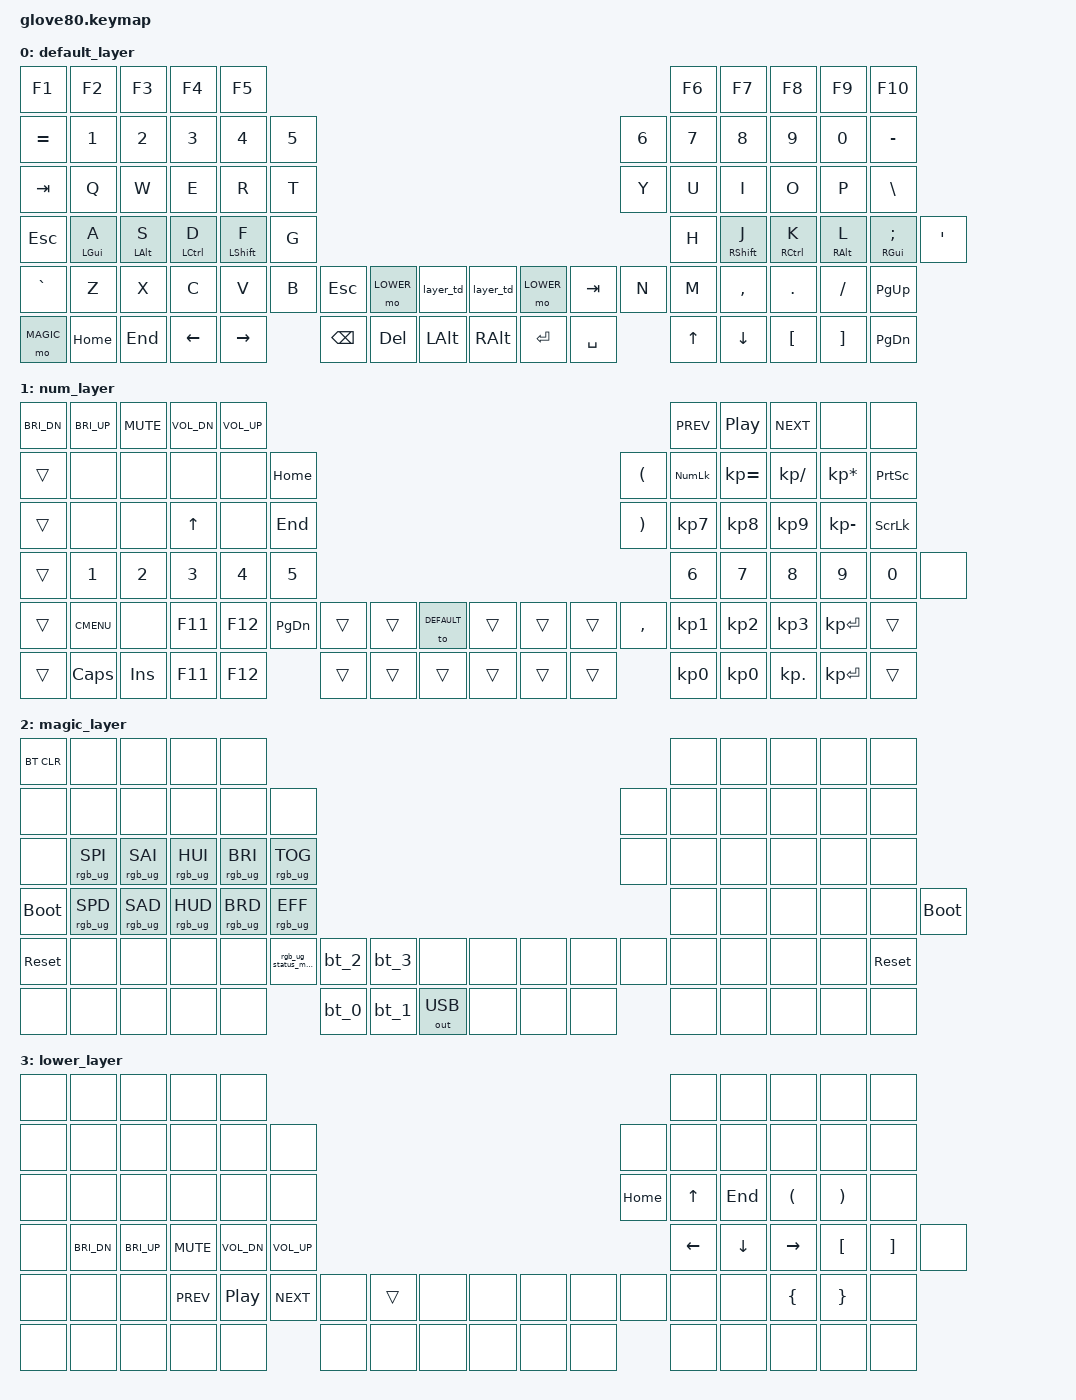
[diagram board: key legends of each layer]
/*
 * Copyright (c) 2020 The ZMK Contributors
 *
 * SPDX-License-Identifier: MIT
 */

#include <behaviors.dtsi>
#include <dt-bindings/zmk/keys.h>
#include <dt-bindings/zmk/bt.h>
#include <dt-bindings/zmk/ext_power.h>
#include <dt-bindings/zmk/outputs.h>
#include <dt-bindings/zmk/rgb.h>

// layers
#define DEFAULT 0
#define NUM 1
#define MAGIC 2
#define LOWER 3

// Home row mod config
#define HM_TAPPING_TERM 250
#define HM_QUICK_TAP 150

// Key positions for positional hold-tap (opposite hand triggers hold)
#define KEYS_L 0 1 2 3 4 10 11 12 13 14 15 22 23 24 25 26 27 34 35 36 37 38 39 46 47 48 49 50 51 64 65 66 67 68
#define KEYS_R 5 6 7 8 9 16 17 18 19 20 21 28 29 30 31 32 33 40 41 42 43 44 45 58 59 60 61 62 63 75 76 77 78 79
#define THUMBS 52 53 54 55 56 57 69 70 71 72 73 74

/ {
    behaviors {
        // Layer tap-dance: tap = momentary, double-tap = toggle
        layer_td: tap_dance_0 {
            compatible = "zmk,behavior-tap-dance";
            #binding-cells = <0>;
            tapping-term-ms = <200>;
            bindings = <&mo NUM>, <&to NUM>;
        };

        // Home row mods - left hand (hold triggers on right-hand keys + thumbs)
        hml: homerow_mods_left {
            compatible = "zmk,behavior-hold-tap";
            #binding-cells = <2>;
            tapping-term-ms = <HM_TAPPING_TERM>;
            quick-tap-ms = <HM_QUICK_TAP>;
            flavor = "balanced";
            hold-trigger-on-release;
            hold-trigger-key-positions = <KEYS_R THUMBS>;
            bindings = <&kp>, <&kp>;
        };

        // Home row mods - right hand (hold triggers on left-hand keys + thumbs)
        hmr: homerow_mods_right {
            compatible = "zmk,behavior-hold-tap";
            #binding-cells = <2>;
            tapping-term-ms = <HM_TAPPING_TERM>;
            quick-tap-ms = <HM_QUICK_TAP>;
            flavor = "balanced";
            hold-trigger-on-release;
            hold-trigger-key-positions = <KEYS_L THUMBS>;
            bindings = <&kp>, <&kp>;
        };
    };

    macros {
        bt_0: bt_profile_macro_0 {
            compatible = "zmk,behavior-macro";
            #binding-cells = <0>;
            bindings
                = <&out OUT_BLE>,
                  <&bt BT_SEL 0>;
        };

        bt_1: bt_profile_macro_1 {
            compatible = "zmk,behavior-macro";
            #binding-cells = <0>;
            bindings
                = <&out OUT_BLE>,
                  <&bt BT_SEL 1>;
        };

        bt_2: bt_profile_macro_2 {
            compatible = "zmk,behavior-macro";
            #binding-cells = <0>;
            bindings
                = <&out OUT_BLE>,
                  <&bt BT_SEL 2>;
        };

        bt_3: bt_profile_macro_3 {
            compatible = "zmk,behavior-macro";
            #binding-cells = <0>;
            bindings
                = <&out OUT_BLE>,
                  <&bt BT_SEL 3>;
        };

        rgb_ug_status_macro: rgb_ug_status_macro_0 {
            label = "RGB_UG_STATUS";
            compatible = "zmk,behavior-macro";
            #binding-cells = <0>;
            bindings = <&rgb_ug RGB_STATUS>;
        };
    };

    keymap {
        compatible = "zmk,keymap";

        default_layer {
            // ---------------------------------------------------------------------------------------------------------------------------------
            // |  F1   |  F2 |  F3 |  F4  |  F5  |                                                               |  F6   |  F7   |  F8  |   F9  |  F10 |
            // |  =    |  1  |  2  |  3   |  4   |  5   |                                                 |  6   |   7   |   8   |  9   |   0   |   -  |
            // |  TAB  |  Q  |  W  |  E   |  R   |  T   |                                                 |  Y   |   U   |   I   |  O   |   P   |   \  |
            // |  ESC  |  A  |  S  |  D   |  F   |  G   |                                                 |  H   |   J   |   K   |  L   |   ;   |   '  |
            // |   `   |  Z  |  X  |  C   |  V   |  B   | LSHFT | LCTRL | LOWER | | LGUI  | RCTRL | RSHFT |  N   |   M   |   ,   |  .   |   /   | PGUP |
            // | MAGIC | HOME| END | LEFT | RIGHT|      | BSPC  | DEL   | LALT  | | RALT  | RET   | SPACE |      |  UP   | DOWN  |  [   |   ]   | PGDN |
            //
            // Home row mods (GACS):
            // Left:  A=GUI, S=ALT, D=CTRL, F=SHIFT
            // Right: J=SHIFT, K=CTRL, L=ALT, ;=GUI
            //
            // For umlauts: Use ABC Extended layout on macOS
            // Alt+U then vowel = ä/ö/ü, Alt+S = ß

            bindings = <
            &kp F1         &kp F2   &kp F3      &kp F4      &kp F5                                                                                                    &kp F6  &kp F7          &kp F8      &kp F9      &kp F10
            &kp EQUAL      &kp N1   &kp N2      &kp N3      &kp N4      &kp N5                                                                            &kp N6      &kp N7  &kp N8          &kp N9      &kp N0      &kp MINUS
            &kp TAB        &kp Q    &kp W       &kp E       &kp R       &kp T                                                                             &kp Y       &kp U   &kp I           &kp O       &kp P       &kp BSLH
            &kp ESC        &hml LGUI A  &hml LALT S  &hml LCTRL D  &hml LSHFT F  &kp G                                                                        &kp H       &hmr RSHFT J  &hmr RCTRL K  &hmr RALT L  &hmr RGUI SEMI  &kp SQT
            &kp GRAVE      &kp Z    &kp X       &kp C       &kp V       &kp B   &kp ESC     &mo LOWER   &layer_td  &layer_td &mo LOWER &kp TAB            &kp N       &kp M   &kp COMMA       &kp DOT     &kp FSLH    &kp PG_UP
            &mo MAGIC      &kp HOME &kp END     &kp LEFT    &kp RIGHT           &kp BSPC    &kp DEL     &kp LALT   &kp RALT  &kp RET   &kp SPACE                      &kp UP  &kp DOWN        &kp LBKT    &kp RBKT    &kp PG_DN
            >;
        };

        num_layer {
            bindings = <
            &kp C_BRI_DN      &kp C_BRI_UP        &kp C_MUTE      &kp C_VOL_DN    &kp C_VOL_UP                                                                                                       &kp C_PREV   &kp C_PP     &kp C_NEXT    &none           &none
            &trans            &none               &none           &none           &none           &kp HOME                                                                              &kp LPAR     &kp KP_NUM   &kp KP_EQUAL &kp KP_DIVIDE &kp KP_MULTIPLY &kp PSCRN
            &trans            &none               &none           &kp UP          &none           &kp END                                                                               &kp RPAR     &kp KP_N7    &kp KP_N8    &kp KP_N9     &kp KP_MINUS    &kp SLCK
            &trans            &kp N1              &kp N2          &kp N3          &kp N4          &kp N5                                                                                &kp N6       &kp N7       &kp N8       &kp N9        &kp N0          &none
            &trans            &kp K_CMENU         &none           &kp F11         &kp F12         &kp PG_DN       &trans      &trans      &to DEFAULT &trans      &trans      &trans    &kp COMMA    &kp KP_N1    &kp KP_N2    &kp KP_N3     &kp KP_ENTER    &trans
            &trans            &kp CAPS            &kp INS         &kp F11         &kp F12                         &trans      &trans      &trans      &trans      &trans      &trans                 &kp KP_N0    &kp KP_N0    &kp KP_DOT    &kp KP_ENTER    &trans
            >;
        };

        magic_layer {
            bindings = <
            &bt BT_CLR        &none               &none           &none           &none                                                                                                           &none      &none      &none      &none      &none
            &none             &none               &none           &none           &none           &none                                                                                &none      &none      &none      &none      &none      &none
            &none             &rgb_ug RGB_SPI     &rgb_ug RGB_SAI &rgb_ug RGB_HUI &rgb_ug RGB_BRI &rgb_ug RGB_TOG                                                                      &none      &none      &none      &none      &none      &none
            &bootloader       &rgb_ug RGB_SPD     &rgb_ug RGB_SAD &rgb_ug RGB_HUD &rgb_ug RGB_BRD &rgb_ug RGB_EFF                                                                      &none      &none      &none      &none      &none      &bootloader
            &sys_reset        &none               &none           &none           &none           &rgb_ug_status_macro &bt_2     &bt_3     &none            &none     &none     &none       &none      &none      &none      &none      &none      &sys_reset
            &none             &none               &none           &none           &none                           &bt_0     &bt_1     &out OUT_USB     &none     &none     &none                  &none      &none      &none      &none      &none
            >;
        };

        lower_layer {
            // LOWER layer - Navigation, brackets (right) + media (left)
            // Hold LOWER (left thumb) for arrows + brackets + media
            //
            // Left hand:
            //   A=Bright↓  S=Bright↑  D=Mute  F=Vol↓  G=Vol↑
            //   C=Prev     V=Play     B=Next
            //
            // Right hand:
            //   Y=Home  U=↑     I=End   O=(     P=)
            //   H=←     J=↓     K=→     L=[     ;=]
            //                           .={     /=}

            bindings = <
            &none             &none               &none           &none           &none                                                                                                           &none      &none      &none      &none      &none
            &none             &none               &none           &none           &none           &none                                                                                &none      &none      &none      &none      &none      &none
            &none             &none               &none           &none           &none           &none                                                                                &kp HOME   &kp UP     &kp END    &kp LPAR   &kp RPAR   &none
            &none             &kp C_BRI_DN        &kp C_BRI_UP    &kp C_MUTE      &kp C_VOL_DN    &kp C_VOL_UP                                                                         &kp LEFT   &kp DOWN   &kp RIGHT  &kp LBKT   &kp RBKT   &none
            &none             &none               &none           &kp C_PREV      &kp C_PP        &kp C_NEXT      &none     &trans    &none            &none     &none     &none       &none      &none      &none      &kp LBRC   &kp RBRC   &none
            &none             &none               &none           &none           &none                           &none     &none     &none            &none     &none     &none                  &none      &none      &none      &none      &none
            >;
        };
    };
};
